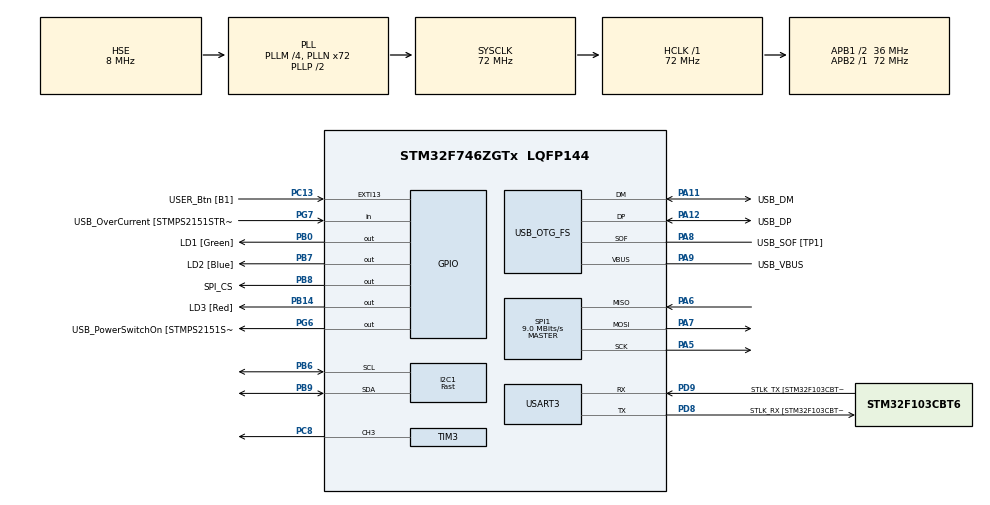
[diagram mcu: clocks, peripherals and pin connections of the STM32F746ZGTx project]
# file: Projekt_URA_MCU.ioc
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I2C1.I2C_Speed_Mode=I2C_Fast
I2C1.Timing=0x00301739
Mcu.Family=STM32F7
Mcu.Name=STM32F746ZGTx
Mcu.Package=LQFP144
NVIC.PriorityGroup=NVIC_PRIORITYGROUP_4
NVIC.TIM2_IRQn=true\:0\:0\:false\:false\:true\:true\:true
NVIC.USART3_IRQn=true\:0\:0\:false\:false\:true\:true\:true
PA11.GPIO_Label=USB_DM
PA11.Mode=Device_Only
PA11.Signal=USB_OTG_FS_DM
PA12.GPIO_Label=USB_DP
PA12.Mode=Device_Only
PA12.Signal=USB_OTG_FS_DP
PA13.GPIO_Label=TMS
PA13.Mode=Serial_Wire
PA13.Signal=SYS_JTMS-SWDIO
PA14.GPIO_Label=TCK
PA14.Mode=Serial_Wire
PA14.Signal=SYS_JTCK-SWCLK
PA5.Mode=Full_Duplex_Master
PA5.Signal=SPI1_SCK
PA6.Mode=Full_Duplex_Master
PA6.Signal=SPI1_MISO
PA7.Mode=Full_Duplex_Master
PA7.Signal=SPI1_MOSI
PA8.GPIO_Label=USB_SOF [TP1]
PA8.Mode=Activate_SOF_FS
PA8.Signal=USB_OTG_FS_SOF
PA9.GPIO_Label=USB_VBUS
PA9.Mode=Activate_VBUS
PA9.Signal=USB_OTG_FS_VBUS
PB0.GPIO_Label=LD1 [Green]
PB0.Signal=GPIO_Output
PB14.GPIO_Label=LD3 [Red]
PB14.Signal=GPIO_Output
PB3.GPIO_Label=SW0
PB3.Signal=SYS_JTDO-SWO
PB6.Mode=I2C
PB6.Signal=I2C1_SCL
PB7.GPIO_Label=LD2 [Blue]
PB7.Signal=GPIO_Output
PB8.GPIO_Label=SPI_CS
PB8.GPIO_Speed=GPIO_SPEED_FREQ_MEDIUM
PB8.PinState=GPIO_PIN_SET
PB8.Signal=GPIO_Output
PB9.Mode=I2C
PB9.Signal=I2C1_SDA
PC13.GPIO_Label=USER_Btn [B1]
PC13.Signal=GPXTI13
PC14/OSC32_IN.Mode=LSE-External-Oscillator
PC14/OSC32_IN.Signal=RCC_OSC32_IN
PC15/OSC32_OUT.Mode=LSE-External-Oscillator
PC15/OSC32_OUT.Signal=RCC_OSC32_OUT
PC8.Signal=S_TIM3_CH3
PD8.GPIO_Label=STLK_RX [STM32F103CBT6_PA3]
PD8.Mode=Asynchronous
PD8.Signal=USART3_TX
PD9.GPIO_Label=STLK_TX [STM32F103CBT6_PA2]
PD9.Mode=Asynchronous
PD9.Signal=USART3_RX
PG6.GPIO_Label=USB_PowerSwitchOn [STMPS2151STR_EN]
PG6.Signal=GPIO_Output
PG7.GPIO_Label=USB_OverCurrent [STMPS2151STR_FAULT]
PG7.Signal=GPIO_Input
PH0/OSC_IN.GPIO_Label=MCO [STM32F103CBT6_PA8]
PH0/OSC_IN.Mode=HSE-External-Clock-Source
PH0/OSC_IN.Signal=RCC_OSC_IN
PH1/OSC_OUT.Mode=HSE-External-Clock-Source
PH1/OSC_OUT.Signal=RCC_OSC_OUT
ProjectManager.HeapSize=0x200
ProjectManager.StackSize=0x400
ProjectManager.TargetToolchain=STM32CubeIDE
RCC.48MHZClocksFreq_Value=24000000
RCC.AHBFreq_Value=72000000
RCC.APB1CLKDivider=RCC_HCLK_DIV2
RCC.APB1Freq_Value=36000000
RCC.APB1TimFreq_Value=72000000
RCC.APB2Freq_Value=72000000
RCC.APB2TimFreq_Value=72000000
RCC.CortexFreq_Value=72000000
RCC.HCLKFreq_Value=72000000
RCC.HSE_VALUE=8000000
RCC.HSI_VALUE=16000000
RCC.PLLM=4
RCC.PLLMUL=RCC_PLL_MUL9
RCC.PLLN=72
RCC.PLLQ=3
RCC.PRESCALERUSB=RCC_USBCLKSOURCE_PLL_DIV1_5
RCC.SYSCLKFreq_VALUE=72000000
RCC.SYSCLKSource=RCC_SYSCLKSOURCE_PLLCLK
RCC.SYSCLKSourceVirtual=RCC_SYSCLKSOURCE_PLLCLK
RCC.USBFreq_Value=48000000
RCC.VCOOutputFreq_Value=144000000
SH.S_TIM3_CH3.0=TIM3_CH3,PWM Generation3 CH3
SPI1.BaudRatePrescaler=SPI_BAUDRATEPRESCALER_8
SPI1.CalculateBaudRate=9.0 MBits/s
SPI1.DataSize=SPI_DATASIZE_8BIT
SPI1.Direction=SPI_DIRECTION_2LINES
SPI1.Mode=SPI_MODE_MASTER
SPI1.VirtualType=VM_MASTER
TIM2.AutoReloadPreload=TIM_AUTORELOAD_PRELOAD_ENABLE
TIM2.Period=99999
TIM2.Prescaler=719
TIM3.Channel-PWM\ Generation3\ CH3=TIM_CHANNEL_3
TIM3.Period=999
TIM3.Prescaler=71
USART3.VirtualMode-Asynchronous=VM_ASYNC
USB_OTG_FS.VirtualMode=Device_Only
VP_TIM2_VS_ClockSourceINT.Mode=Internal
VP_TIM3_VS_ClockSourceINT.Mode=Internal
board=NUCLEO-F746ZG

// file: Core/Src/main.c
/* USER CODE BEGIN Header */
/**
 ******************************************************************************
 * @file           : main.c
 * @brief          : Main program body
 ******************************************************************************
 * @attention
 *
 * Copyright (c) 2021 STMicroelectronics.
 * All rights reserved.
 *
 * This software is licensed under terms that can be found in the LICENSE file
 * in the root directory of this software component.
 * If no LICENSE file comes with this software, it is provided AS-IS.
 *
 ******************************************************************************
 */
/* USER CODE END Header */
#include "main.h"
#include "i2c.h"
#include "spi.h"
#include "tim.h"
#include "usart.h"
#include "usb_otg.h"
#include "gpio.h"

/* USER CODE BEGIN Includes */
#include "BMPXX80.h"
#include "stdio.h"
#include "stdlib.h"
#include "string.h"
#include "SSD1306_OLED.h"
#include "GFX_BW.h"
#include "fonts/fonts.h"
#include "PID_Controller.h"
/* USER CODE END Includes */

/* USER CODE BEGIN PD */
#define STATUS_GRZANIE 1
#define STATUS_CHLODZENIE 2
#define STATUS_ERROR 3
#define STATUS_STOP 4
/* USER CODE END PD */

/* USER CODE BEGIN PV */
//
//Dane z czujnika pomiarowego
//
int32_t pressure = 0;
float temperature = 0;
float temperature_set = 35;
//
// OLED Print
//
char Message[32];
uint8_t status = STATUS_STOP;
uint32_t SoftTimerOled;
//
//Regulator PID
//
pid_controller_t pid={.Kp = 1, .Ki = 0.002, .Kd = 0, .dt = 1, .calka_poprzedni = 0, .uchyb_aktualny = 0, .uchyb_poprzedni = 0};
float u;
uint16_t sterowanie;
//
//UART - wysyłanie danych
//
uint8_t Buffor[128], Buffor_Rx[6];
uint8_t zezwolenie = 0;
uint16_t length;
/* USER CODE END PV */

void SystemClock_Config(void);

int main(void)
{

	/* MCU Configuration--------------------------------------------------------*/

	/* Reset of all peripherals, Initializes the Flash interface and the Systick. */
	HAL_Init();

	/* Configure the system clock */
	SystemClock_Config();

	/* Initialize all configured peripherals */
	MX_GPIO_Init();
	MX_USART3_UART_Init();
	MX_USB_OTG_FS_PCD_Init();
	MX_I2C1_Init();
	MX_TIM2_Init();
	MX_TIM3_Init();
	MX_SPI1_Init();
	/* USER CODE BEGIN 2 */
	//
	//Włączenie TIM
	//
	HAL_TIM_Base_Start_IT(&htim2); //Podstawowy do dt = 1s
	HAL_TIM_PWM_Start(&htim3, TIM_CHANNEL_3); //Sterowanie transytorem 1kHz

	//
	//Ustawienie czujnika Temperatury
	//
	BMP280_Init(&hspi1, BMP280_TEMPERATURE_16BIT, BMP280_STANDARD, BMP280_FORCEDMODE);

	//
	// Ustawienie Wyświetlacza OLED
	//
	SSD1306_Init(&hi2c1);
	GFX_SetFont(font_8x5);
	GFX_SetFontSize(1);
	SSD1306_Clear(BLACK);
	SSD1306_Display();
	//
	//Pobranie danych z czujnika - wartości początkowe
	//
	BMP280_ReadTemperatureAndPressure(&temperature, &pressure);
	//
	//Otworzenie portu do nasłuchu na przychodzące komendy
	//
	HAL_UART_Receive_IT(&huart3, Buffor_Rx, 8);
	/* USER CODE END 2 */

	/* Infinite loop */
	/* USER CODE BEGIN WHILE */
	while (1)
	{
		//
		//Wyświetlanie danych na wyświetlaczu OLED
		//
		if((HAL_GetTick() - SoftTimerOled) > 100){
			SoftTimerOled = HAL_GetTick();
			SSD1306_Clear(BLACK);
			sprintf(Message, "Regulacja Temperatury");
			GFX_DrawString(0, 0, Message, WHITE, 0);
			GFX_DrawLine(0, 9, 128, 9, WHITE);
			sprintf(Message, "Aktualna temp: %.2fC", temperature);
			GFX_DrawString(0, 12, Message, WHITE, 0);
			sprintf(Message, "Zadana temp: %.1f C", temperature_set);
			GFX_DrawString(0, 22, Message, WHITE, 0);
			sprintf(Message, "Cisnienie: %.1f HPa", ((float)pressure/100.0));
			GFX_DrawString(0, 32, Message, WHITE, 0);
			switch (status){
			case 1:
				sprintf(Message, "Status: Grzanie");
				GFX_DrawString(0, 42, Message, WHITE, 0);
				break;
			case 2:
				sprintf(Message, "Status: Chlodzenie");
				GFX_DrawString(0, 42, Message, WHITE, 0);
				break;
			case 3:
				sprintf(Message, "Status: ERROR!!!");
				GFX_DrawString(0, 42, Message, WHITE, 0);
				break;
			case 4:
				sprintf(Message, "Status: STOP");
				GFX_DrawString(0, 42, Message, WHITE, 0);
				break;
			}
			GFX_DrawLine(127, 53, 127, 64, WHITE);
			GFX_DrawRectangle(0, 53, (uint16_t)(128*temperature/temperature_set), 11, WHITE);
			SSD1306_Display();
		}
		if(zezwolenie){
			length = sprintf((char*)Buffor, "{\"Temp\":%.2f,\"t\":%.1f,\"Temp_set\":%.2f,\"Kp\":%.4f,\"Ki\":%.4f,\"Kd\":%.4f,\"u\":%.2f}\r\n",temperature,pid.dt,temperature_set,pid.Kp,pid.Ki,pid.Kd,u);
			HAL_UART_Transmit(&huart3, Buffor, length, 1000);
			zezwolenie = 0;
		}
		/* USER CODE END WHILE */

	}
}

void SystemClock_Config(void)
{
	RCC_OscInitTypeDef RCC_OscInitStruct = {0};
	RCC_ClkInitTypeDef RCC_ClkInitStruct = {0};

	/** Configure LSE Drive Capability
	 */
	HAL_PWR_EnableBkUpAccess();
	/** Configure the main internal regulator output voltage
	 */
	__HAL_RCC_PWR_CLK_ENABLE();
	__HAL_PWR_VOLTAGESCALING_CONFIG(PWR_REGULATOR_VOLTAGE_SCALE3);
	/** Initializes the RCC Oscillators according to the specified parameters
	 * in the RCC_OscInitTypeDef structure.
	 */
	RCC_OscInitStruct.OscillatorType = RCC_OSCILLATORTYPE_HSE;
	RCC_OscInitStruct.HSEState = RCC_HSE_BYPASS;
	RCC_OscInitStruct.PLL.PLLState = RCC_PLL_ON;
	RCC_OscInitStruct.PLL.PLLSource = RCC_PLLSOURCE_HSE;
	RCC_OscInitStruct.PLL.PLLM = 4;
	RCC_OscInitStruct.PLL.PLLN = 72;
	RCC_OscInitStruct.PLL.PLLP = RCC_PLLP_DIV2;
	RCC_OscInitStruct.PLL.PLLQ = 3;
	if (HAL_RCC_OscConfig(&RCC_OscInitStruct) != HAL_OK)
	{
		Error_Handler();
	}
	/** Initializes the CPU, AHB and APB buses clocks
	 */
	RCC_ClkInitStruct.ClockType = RCC_CLOCKTYPE_HCLK|RCC_CLOCKTYPE_SYSCLK
			|RCC_CLOCKTYPE_PCLK1|RCC_CLOCKTYPE_PCLK2;
	RCC_ClkInitStruct.SYSCLKSource = RCC_SYSCLKSOURCE_PLLCLK;
	RCC_ClkInitStruct.AHBCLKDivider = RCC_SYSCLK_DIV1;
	RCC_ClkInitStruct.APB1CLKDivider = RCC_HCLK_DIV2;
	RCC_ClkInitStruct.APB2CLKDivider = RCC_HCLK_DIV1;

	if (HAL_RCC_ClockConfig(&RCC_ClkInitStruct, FLASH_LATENCY_2) != HAL_OK)
	{
		Error_Handler();
	}
}

/* USER CODE BEGIN 4 */
void HAL_TIM_PeriodElapsedCallback(TIM_HandleTypeDef *htim){
	if(htim->Instance == TIM2 && (status == STATUS_GRZANIE || status == STATUS_CHLODZENIE))
	{
		//Sygnalizacja rozpoczęcia
		HAL_GPIO_TogglePin(LD2_GPIO_Port, LD2_Pin);
		//
		//Pobranie danych z czujnika - aktualna temp i press
		//
		BMP280_ReadTemperatureAndPressure(&temperature, &pressure);
		//
		//Regulator
		//
		u = u_pid_calculate(&pid, temperature_set, temperature);
		sterowanie = saturation_pwm(u);
		if(sterowanie<100)
		{
			status = STATUS_CHLODZENIE;
		}else{
			status = STATUS_GRZANIE;
		}
		//
		//Wytworzenie sygnału
		//
		__HAL_TIM_SET_COMPARE(&htim3,TIM_CHANNEL_3,sterowanie);
		//
		//Wysłanie danych
		//
		zezwolenie = 1;
		//Sygnalizacja zakończenia
		HAL_GPIO_TogglePin(LD2_GPIO_Port, LD2_Pin);
	}
}
void HAL_UART_RxCpltCallback(UART_HandleTypeDef *huart){
	if(huart->Instance == USART3)
	{
		//Sygnalizacja odebrania
		HAL_GPIO_TogglePin(LD1_GPIO_Port, LD1_Pin);
		//
		//Wykonanie akcji
		//
		//Możliwe komunikaty:
		//"TMP=27.5" lub dowolna inna temp
		//"STA=0001" lub "STA=0002" lub "STA=0003" lub "STA=0004"
		//
		if(Buffor_Rx[0] == 'S'){
			switch(Buffor_Rx[7]){
			case '1':
				status = STATUS_GRZANIE;
				break;
			case '2':
				status = STATUS_CHLODZENIE;
				break;
			case '3':
				status = STATUS_ERROR;
				break;
			case '4':
				status = STATUS_STOP;
				break;
			}
			}else if(Buffor_Rx[0] == 'T'){
				float temp_change;
				char temp_change_str[4];
				temp_change_str[0] = Buffor_Rx[4];
				temp_change_str[1] = Buffor_Rx[5];
				temp_change_str[2] = Buffor_Rx[6];
				temp_change_str[3] = Buffor_Rx[7];
				temp_change = atof(temp_change_str);
				temperature_set = temp_change;
			}

		//Sygnalizacja zakończenia
		HAL_GPIO_TogglePin(LD1_GPIO_Port, LD1_Pin);
		//
		//Ponowne ustawienie nasłuchu
		//
		HAL_UART_Receive_IT(&huart3, Buffor_Rx, 8);
	}
}
/* USER CODE END 4 */

void Error_Handler(void)
{
	__disable_irq();
	while (1)
	{
	}
}
